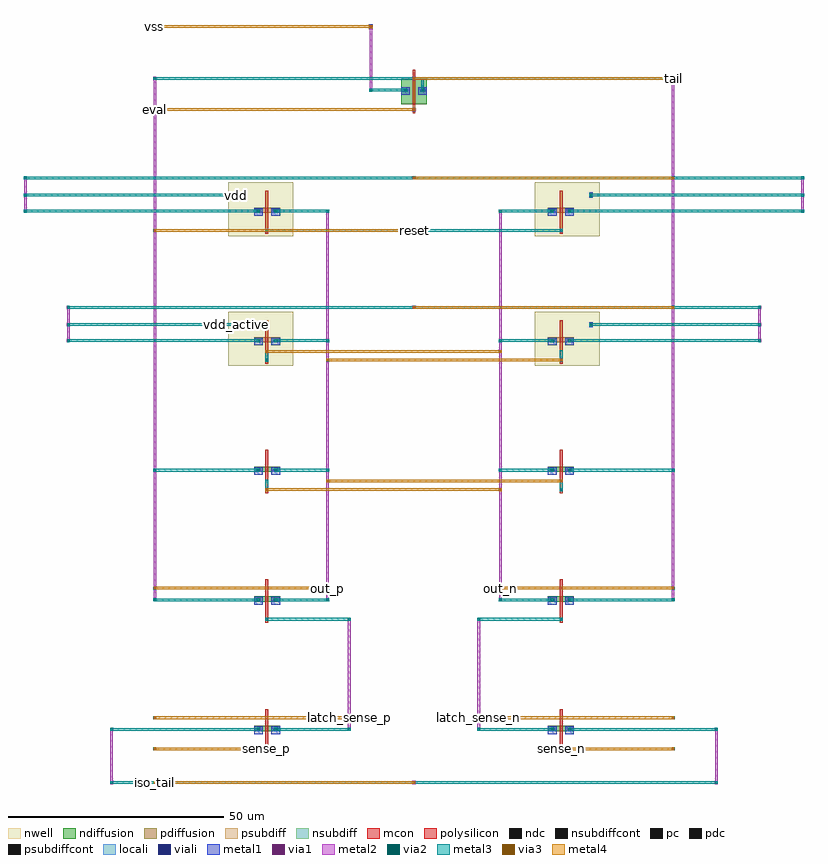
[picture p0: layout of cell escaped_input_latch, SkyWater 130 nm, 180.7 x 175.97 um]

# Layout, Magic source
magic
tech sky130A
<< ndiffusion >>
rect -3700 690 -3100 810
rect 3100 690 3700 810
rect -3700 3690 -3100 3810
rect 3100 3690 3700 3810
rect -3700 6690 -3100 6810
rect 3100 6690 3700 6810
rect -300 15200 300 15800
<< polysilicon >>
rect -3445 245 -3375 315
rect -3445 3245 -3375 3315
rect -3445 6245 -3375 6315
rect -3445 9245 -3375 9315
rect -3445 12245 -3375 12315
rect -35 15045 35 15115
rect 3375 245 3445 315
rect 3375 3245 3445 3315
rect 3375 6245 3445 6315
rect 3375 9245 3445 9315
rect 3375 12245 3445 12315
rect -3440 200 -3380 1200
rect 3380 200 3440 1200
rect -3440 3200 -3380 4200
rect 3380 3200 3440 4200
rect -3440 6200 -3380 7200
rect 3380 6200 3440 7200
rect -3440 9200 -3380 10200
rect 3380 9200 3440 10200
rect -3440 12200 -3380 13200
rect 3380 12200 3440 13200
rect -30 15000 30 16000
<< ndc >>
rect -3260 700 -3140 760
rect -3660 700 -3540 760
rect 3140 700 3260 760
rect 3540 700 3660 760
rect -3260 3700 -3140 3760
rect -3660 3700 -3540 3760
rect 3140 3700 3260 3760
rect 3540 3700 3660 3760
rect -3260 6700 -3140 6760
rect -3660 6700 -3540 6760
rect 3140 6700 3260 6760
rect 3540 6700 3660 6760
rect -260 15500 -140 15560
rect 140 15500 260 15560
<< mcon >>
rect -3260 700 -3140 760
rect -3660 700 -3540 760
rect -3440 250 -3380 310
rect 3140 700 3260 760
rect 3540 700 3660 760
rect 3380 250 3440 310
rect -3260 3700 -3140 3760
rect -3660 3700 -3540 3760
rect -3440 3250 -3380 3310
rect 3140 3700 3260 3760
rect 3540 3700 3660 3760
rect 3380 3250 3440 3310
rect -3260 6700 -3140 6760
rect -3660 6700 -3540 6760
rect -3440 6250 -3380 6310
rect 3140 6700 3260 6760
rect 3540 6700 3660 6760
rect 3380 6250 3440 6310
rect -3260 9700 -3140 9760
rect -3660 9700 -3540 9760
rect -3440 9250 -3380 9310
rect 3140 9700 3260 9760
rect 3540 9700 3660 9760
rect 3380 9250 3440 9310
rect -3260 12700 -3140 12760
rect -3660 12700 -3540 12760
rect -3440 12250 -3380 12310
rect 3140 12700 3260 12760
rect 3540 12700 3660 12760
rect 3380 12250 3440 12310
rect -260 15500 -140 15560
rect 140 15500 260 15560
rect -30 15050 30 15110
<< metal1 >>
rect -4133 10047 -4067 10153
rect -4133 10067 -4067 10133
rect -4133 13047 -4067 13153
rect -4133 13067 -4067 13133
rect -3663 697 -3537 763
rect -3663 3697 -3537 3763
rect -3663 6697 -3537 6763
rect -3663 9697 -3537 9763
rect -3663 12697 -3537 12763
rect -3633 697 -3567 763
rect -3633 3697 -3567 3763
rect -3633 6697 -3567 6763
rect -3633 9697 -3567 9763
rect -3633 12697 -3567 12763
rect -3443 247 -3377 313
rect -3443 3247 -3377 3313
rect -3443 6247 -3377 6313
rect -3443 9247 -3377 9313
rect -3443 12247 -3377 12313
rect -3263 697 -3137 763
rect -3263 3697 -3137 3763
rect -3263 6697 -3137 6763
rect -3263 9697 -3137 9763
rect -3263 12697 -3137 12763
rect -3233 697 -3167 763
rect -3233 3697 -3167 3763
rect -3233 6697 -3167 6763
rect -3233 9697 -3167 9763
rect -3233 12697 -3167 12763
rect -2033 3967 -1967 4033
rect -1033 16947 -967 17053
rect -1033 16967 -967 17033
rect -263 15497 -137 15563
rect -233 15497 -167 15563
rect -33 15047 33 15113
rect 137 15497 263 15563
rect 167 15497 233 15563
rect 1967 3967 2033 4033
rect 3137 697 3263 763
rect 3137 3697 3263 3763
rect 3137 6697 3263 6763
rect 3137 9697 3263 9763
rect 3137 12697 3263 12763
rect 3167 697 3233 763
rect 3167 3697 3233 3763
rect 3167 6697 3233 6763
rect 3167 9697 3233 9763
rect 3167 12697 3233 12763
rect 3377 247 3443 313
rect 3377 3247 3443 3313
rect 3377 6247 3443 6313
rect 3377 9247 3443 9313
rect 3377 12247 3443 12313
rect 3537 697 3663 763
rect 3537 3697 3663 3763
rect 3537 6697 3663 6763
rect 3537 9697 3663 9763
rect 3537 12697 3663 12763
rect 3567 697 3633 763
rect 3567 3697 3633 3763
rect 3567 6697 3633 6763
rect 3567 9697 3633 9763
rect 3567 12697 3633 12763
rect 4067 10047 4133 10153
rect 4067 10067 4133 10133
rect 4067 13047 4133 13153
rect 4067 13067 4133 13133
rect -3300 620 -3100 800
rect -3700 620 -3500 800
rect -3440 250 -3380 310
rect -3630 700 -3570 760
rect -3230 700 -3170 760
rect -3440 250 -3380 310
rect 3100 620 3300 800
rect 3500 620 3700 800
rect 3380 250 3440 310
rect 3570 700 3630 760
rect 3170 700 3230 760
rect 3380 250 3440 310
rect -3300 3620 -3100 3800
rect -3700 3620 -3500 3800
rect -3440 3250 -3380 3310
rect -3630 3700 -3570 3760
rect -3230 3700 -3170 3760
rect -3440 3250 -3380 3310
rect 3100 3620 3300 3800
rect 3500 3620 3700 3800
rect 3380 3250 3440 3310
rect 3570 3700 3630 3760
rect 3170 3700 3230 3760
rect 3380 3250 3440 3310
rect -3300 6620 -3100 6800
rect -3700 6620 -3500 6800
rect -3440 6250 -3380 6310
rect -3630 6700 -3570 6760
rect -3230 6700 -3170 6760
rect -3440 6250 -3380 6310
rect 3100 6620 3300 6800
rect 3500 6620 3700 6800
rect 3380 6250 3440 6310
rect 3570 6700 3630 6760
rect 3170 6700 3230 6760
rect 3380 6250 3440 6310
rect -3300 9620 -3100 9800
rect -3700 9620 -3500 9800
rect -3440 9250 -3380 9310
rect -3630 9700 -3570 9760
rect -3230 9700 -3170 9760
rect -3440 9250 -3380 9310
rect -4130 10050 -4070 10150
rect -4130 10070 -4070 10130
rect 3100 9620 3300 9800
rect 3500 9620 3700 9800
rect 3380 9250 3440 9310
rect 3570 9700 3630 9760
rect 3170 9700 3230 9760
rect 3380 9250 3440 9310
rect 4070 10050 4130 10150
rect 4070 10070 4130 10130
rect -3300 12620 -3100 12800
rect -3700 12620 -3500 12800
rect -3440 12250 -3380 12310
rect -3630 12700 -3570 12760
rect -3230 12700 -3170 12760
rect -3440 12250 -3380 12310
rect -4130 13050 -4070 13150
rect -4130 13070 -4070 13130
rect 3100 12620 3300 12800
rect 3500 12620 3700 12800
rect 3380 12250 3440 12310
rect 3570 12700 3630 12760
rect 3170 12700 3230 12760
rect 3380 12250 3440 12310
rect 4070 13050 4130 13150
rect 4070 13070 4130 13130
rect -2030 3970 -1970 4030
rect 1970 3970 2030 4030
rect -300 15420 -100 15600
rect -230 15500 -170 15560
rect 100 15420 300 15600
rect 170 15500 230 15560
rect -1030 16950 -970 17050
rect -1030 16970 -970 17030
rect -30 15050 30 15110
rect -30 15050 30 15110
<< pc >>
rect -3440 250 -3380 310
rect 3380 250 3440 310
rect -3440 3250 -3380 3310
rect 3380 3250 3440 3310
rect -3440 6250 -3380 6310
rect 3380 6250 3440 6310
rect -3440 9250 -3380 9310
rect 3380 9250 3440 9310
rect -3440 12250 -3380 12310
rect 3380 12250 3440 12310
rect -30 15050 30 15110
<< locali >>
rect -4138 10042 -4062 10158
rect -4138 13042 -4062 13158
rect -3668 692 -3532 768
rect -3668 3692 -3532 3768
rect -3668 6692 -3532 6768
rect -3668 9692 -3532 9768
rect -3668 12692 -3532 12768
rect -3448 242 -3372 318
rect -3448 3242 -3372 3318
rect -3448 6242 -3372 6318
rect -3448 9242 -3372 9318
rect -3448 12242 -3372 12318
rect -3268 692 -3132 768
rect -3268 3692 -3132 3768
rect -3268 6692 -3132 6768
rect -3268 9692 -3132 9768
rect -3268 12692 -3132 12768
rect -1038 16942 -962 17058
rect -268 15492 -132 15568
rect -38 15042 38 15118
rect 132 15492 268 15568
rect 3132 692 3268 768
rect 3132 3692 3268 3768
rect 3132 6692 3268 6768
rect 3132 9692 3268 9768
rect 3132 12692 3268 12768
rect 3372 242 3448 318
rect 3372 3242 3448 3318
rect 3372 6242 3448 6318
rect 3372 9242 3448 9318
rect 3372 12242 3448 12318
rect 3532 692 3668 768
rect 3532 3692 3668 3768
rect 3532 6692 3668 6768
rect 3532 9692 3668 9768
rect 3532 12692 3668 12768
rect 4062 10042 4138 10158
rect 4062 13042 4138 13158
rect -3440 250 -3380 310
rect 3380 250 3440 310
rect -3440 3250 -3380 3310
rect 3380 3250 3440 3310
rect -3440 6250 -3380 6310
rect 3380 6250 3440 6310
rect -3440 9250 -3380 9310
rect -4130 10050 -4070 10150
rect 3380 9250 3440 9310
rect 4070 10050 4130 10150
rect -3440 12250 -3380 12310
rect -4130 13050 -4070 13150
rect 3380 12250 3440 12310
rect 4070 13050 4130 13150
rect -1030 16950 -970 17050
rect -30 15050 30 15110
<< via1 >>
rect -3630 700 -3570 760
rect -3230 700 -3170 760
rect -3440 250 -3380 310
rect 3570 700 3630 760
rect 3170 700 3230 760
rect 3380 250 3440 310
rect -3630 3700 -3570 3760
rect -3230 3700 -3170 3760
rect -3440 3250 -3380 3310
rect 3570 3700 3630 3760
rect 3170 3700 3230 3760
rect 3380 3250 3440 3310
rect -3630 6700 -3570 6760
rect -3230 6700 -3170 6760
rect -3440 6250 -3380 6310
rect 3570 6700 3630 6760
rect 3170 6700 3230 6760
rect 3380 6250 3440 6310
rect -3630 9700 -3570 9760
rect -3230 9700 -3170 9760
rect -3440 9250 -3380 9310
rect -4130 10070 -4070 10130
rect 3570 9700 3630 9760
rect 3170 9700 3230 9760
rect 3380 9250 3440 9310
rect 4070 10070 4130 10130
rect -3630 12700 -3570 12760
rect -3230 12700 -3170 12760
rect -3440 12250 -3380 12310
rect -4130 13070 -4070 13130
rect 3570 12700 3630 12760
rect 3170 12700 3230 12760
rect 3380 12250 3440 12310
rect 4070 13070 4130 13130
rect -2030 3970 -1970 4030
rect 1970 3970 2030 4030
rect -230 15500 -170 15560
rect 170 15500 230 15560
rect -1030 16970 -970 17030
rect -30 15050 30 15110
<< metal2 >>
rect -9035 12695 -8965 12765
rect -9035 13065 -8965 13135
rect -9035 13465 -8965 13535
rect -8035 9695 -7965 9765
rect -8035 10065 -7965 10135
rect -8035 10465 -7965 10535
rect -7035 -535 -6965 -465
rect -7035 695 -6965 765
rect -6035 3695 -5965 3765
rect -6035 6695 -5965 6765
rect -6035 15765 -5965 15835
rect -4135 10065 -4065 10135
rect -4135 13065 -4065 13135
rect -4133 10067 -4067 10133
rect -4133 13067 -4067 13133
rect -3635 695 -3565 765
rect -3635 3695 -3565 3765
rect -3635 6695 -3565 6765
rect -3635 9695 -3565 9765
rect -3635 12695 -3565 12765
rect -3633 697 -3567 763
rect -3633 3697 -3567 3763
rect -3633 6697 -3567 6763
rect -3633 9697 -3567 9763
rect -3633 12697 -3567 12763
rect -3445 245 -3375 315
rect -3445 3245 -3375 3315
rect -3445 6245 -3375 6315
rect -3445 9245 -3375 9315
rect -3445 12245 -3375 12315
rect -3443 247 -3377 313
rect -3443 3247 -3377 3313
rect -3443 6247 -3377 6313
rect -3443 9247 -3377 9313
rect -3443 12247 -3377 12313
rect -3235 695 -3165 765
rect -3235 3695 -3165 3765
rect -3235 6695 -3165 6765
rect -3235 9695 -3165 9765
rect -3235 12695 -3165 12765
rect -3233 697 -3167 763
rect -3233 3697 -3167 3763
rect -3233 6697 -3167 6763
rect -3233 9697 -3167 9763
rect -3233 12697 -3167 12763
rect -2035 3695 -1965 3765
rect -2035 3965 -1965 4035
rect -2035 6445 -1965 6515
rect -2035 6695 -1965 6765
rect -2035 9245 -1965 9315
rect -2035 9695 -1965 9765
rect -2035 12695 -1965 12765
rect -2033 3967 -1967 4033
rect -1535 695 -1465 765
rect -1535 965 -1465 1035
rect -1535 3245 -1465 3315
rect -1035 15495 -965 15565
rect -1035 16965 -965 17035
rect -1033 16967 -967 17033
rect -235 15495 -165 15565
rect -233 15497 -167 15563
rect -35 -535 35 -465
rect -35 10465 35 10535
rect -35 12245 35 12315
rect -35 13465 35 13535
rect -35 15045 35 15115
rect -35 15765 35 15835
rect -33 15047 33 15113
rect 165 15495 235 15565
rect 167 15497 233 15563
rect 1465 695 1535 765
rect 1465 965 1535 1035
rect 1465 3245 1535 3315
rect 1965 3695 2035 3765
rect 1965 3965 2035 4035
rect 1965 6245 2035 6315
rect 1965 6695 2035 6765
rect 1965 9445 2035 9515
rect 1965 9695 2035 9765
rect 1965 12695 2035 12765
rect 1967 3967 2033 4033
rect 3165 695 3235 765
rect 3165 3695 3235 3765
rect 3165 6695 3235 6765
rect 3165 9695 3235 9765
rect 3165 12695 3235 12765
rect 3167 697 3233 763
rect 3167 3697 3233 3763
rect 3167 6697 3233 6763
rect 3167 9697 3233 9763
rect 3167 12697 3233 12763
rect 3375 245 3445 315
rect 3375 3245 3445 3315
rect 3375 6245 3445 6315
rect 3375 9245 3445 9315
rect 3375 12245 3445 12315
rect 3377 247 3443 313
rect 3377 3247 3443 3313
rect 3377 6247 3443 6313
rect 3377 9247 3443 9313
rect 3377 12247 3443 12313
rect 3565 695 3635 765
rect 3565 3695 3635 3765
rect 3565 6695 3635 6765
rect 3565 9695 3635 9765
rect 3565 12695 3635 12765
rect 3567 697 3633 763
rect 3567 3697 3633 3763
rect 3567 6697 3633 6763
rect 3567 9697 3633 9763
rect 3567 12697 3633 12763
rect 4065 10065 4135 10135
rect 4065 13065 4135 13135
rect 4067 10067 4133 10133
rect 4067 13067 4133 13133
rect 5965 3695 6035 3765
rect 5965 6695 6035 6765
rect 5965 15765 6035 15835
rect 6965 -535 7035 -465
rect 6965 695 7035 765
rect 7965 9695 8035 9765
rect 7965 10065 8035 10135
rect 7965 10465 8035 10535
rect 8965 12695 9035 12765
rect 8965 13065 9035 13135
rect 8965 13465 9035 13535
rect -3630 700 -3570 760
rect -7030 700 -6970 760
rect -3230 700 -3170 760
rect -1530 700 -1470 760
rect -3440 250 -3380 310
rect 3570 700 3630 760
rect 6970 700 7030 760
rect 3170 700 3230 760
rect 1470 700 1530 760
rect 3380 250 3440 310
rect -3630 3700 -3570 3760
rect -6030 3700 -5970 3760
rect -3230 3700 -3170 3760
rect -2030 3700 -1970 3760
rect -3440 3250 -3380 3310
rect -1530 3250 -1470 3310
rect 3570 3700 3630 3760
rect 5970 3700 6030 3760
rect 3170 3700 3230 3760
rect 1970 3700 2030 3760
rect 3380 3250 3440 3310
rect 1470 3250 1530 3310
rect -3630 6700 -3570 6760
rect -6030 6700 -5970 6760
rect -3230 6700 -3170 6760
rect -2030 6700 -1970 6760
rect -3440 6250 -3380 6310
rect 1970 6250 2030 6310
rect 3570 6700 3630 6760
rect 5970 6700 6030 6760
rect 3170 6700 3230 6760
rect 1970 6700 2030 6760
rect 3380 6250 3440 6310
rect -2030 6450 -1970 6510
rect -3630 9700 -3570 9760
rect -8030 9700 -7970 9760
rect -3230 9700 -3170 9760
rect -2030 9700 -1970 9760
rect -3440 9250 -3380 9310
rect 1970 9450 2030 9510
rect -4130 10070 -4070 10130
rect -8030 10070 -7970 10130
rect 3570 9700 3630 9760
rect 7970 9700 8030 9760
rect 3170 9700 3230 9760
rect 1970 9700 2030 9760
rect 3380 9250 3440 9310
rect -2030 9250 -1970 9310
rect 4070 10070 4130 10130
rect 7970 10070 8030 10130
rect -3630 12700 -3570 12760
rect -9030 12700 -8970 12760
rect -3230 12700 -3170 12760
rect -2030 12700 -1970 12760
rect -3440 12250 -3380 12310
rect -4130 13070 -4070 13130
rect -9030 13070 -8970 13130
rect 3570 12700 3630 12760
rect 8970 12700 9030 12760
rect 3170 12700 3230 12760
rect 1970 12700 2030 12760
rect 3380 12250 3440 12310
rect 4070 13070 4130 13130
rect 8970 13070 9030 13130
rect -1530 700 -1470 3310
rect -2030 3700 -1970 12760
rect -2030 3970 -1970 4030
rect 1470 700 1530 3310
rect 1970 3700 2030 12760
rect 1970 3970 2030 4030
rect -1530 970 -1470 1030
rect 1470 970 1530 1030
rect -30 -530 30 -470
rect -30 15770 30 15830
rect -30 12250 30 12310
rect -30 15050 30 15110
rect -30 10470 30 10530
rect -30 13470 30 13530
rect -1030 16970 -970 17030
rect -7030 -530 -6970 760
rect -7030 -530 -6970 -470
rect 6970 -530 7030 760
rect 6970 -530 7030 -470
rect -6030 3700 -5970 15830
rect -6030 15770 -5970 15830
rect 5970 3700 6030 15830
rect 5970 15770 6030 15830
rect -8030 9700 -7970 10530
rect -8030 10470 -7970 10530
rect 7970 9700 8030 10530
rect 7970 10470 8030 10530
rect -9030 12700 -8970 13530
rect -9030 13470 -8970 13530
rect 8970 12700 9030 13530
rect 8970 13470 9030 13530
rect -230 15500 -170 15560
rect 170 15500 230 15560
rect -1030 15500 -970 15560
rect -1030 15500 -970 17030
rect -1030 16970 -970 17030
rect -30 15050 30 15110
<< via2 >>
rect -3630 700 -3570 760
rect -7030 700 -6970 760
rect -3230 700 -3170 760
rect -1530 700 -1470 760
rect -3440 250 -3380 310
rect 3570 700 3630 760
rect 6970 700 7030 760
rect 3170 700 3230 760
rect 1470 700 1530 760
rect 3380 250 3440 310
rect -3630 3700 -3570 3760
rect -6030 3700 -5970 3760
rect -3230 3700 -3170 3760
rect -2030 3700 -1970 3760
rect -3440 3250 -3380 3310
rect -1530 3250 -1470 3310
rect 3570 3700 3630 3760
rect 5970 3700 6030 3760
rect 3170 3700 3230 3760
rect 1970 3700 2030 3760
rect 3380 3250 3440 3310
rect 1470 3250 1530 3310
rect -3630 6700 -3570 6760
rect -6030 6700 -5970 6760
rect -3230 6700 -3170 6760
rect -2030 6700 -1970 6760
rect -3440 6250 -3380 6310
rect 1970 6250 2030 6310
rect 3570 6700 3630 6760
rect 5970 6700 6030 6760
rect 3170 6700 3230 6760
rect 1970 6700 2030 6760
rect 3380 6250 3440 6310
rect -2030 6450 -1970 6510
rect -3630 9700 -3570 9760
rect -8030 9700 -7970 9760
rect -3230 9700 -3170 9760
rect -2030 9700 -1970 9760
rect -3440 9250 -3380 9310
rect 1970 9450 2030 9510
rect -4130 10070 -4070 10130
rect -8030 10070 -7970 10130
rect 3570 9700 3630 9760
rect 7970 9700 8030 9760
rect 3170 9700 3230 9760
rect 1970 9700 2030 9760
rect 3380 9250 3440 9310
rect -2030 9250 -1970 9310
rect 4070 10070 4130 10130
rect 7970 10070 8030 10130
rect -3630 12700 -3570 12760
rect -9030 12700 -8970 12760
rect -3230 12700 -3170 12760
rect -2030 12700 -1970 12760
rect -3440 12250 -3380 12310
rect -4130 13070 -4070 13130
rect -9030 13070 -8970 13130
rect 3570 12700 3630 12760
rect 8970 12700 9030 12760
rect 3170 12700 3230 12760
rect 1970 12700 2030 12760
rect 3380 12250 3440 12310
rect 4070 13070 4130 13130
rect 8970 13070 9030 13130
rect -2030 3970 -1970 4030
rect 1970 3970 2030 4030
rect -1530 970 -1470 1030
rect 1470 970 1530 1030
rect -30 -530 30 -470
rect -30 15770 30 15830
rect -30 12250 30 12310
rect -30 15050 30 15110
rect -30 10470 30 10530
rect -30 13470 30 13530
rect -1030 16970 -970 17030
rect -7030 -530 -6970 -470
rect 6970 -530 7030 -470
rect -6030 15770 -5970 15830
rect 5970 15770 6030 15830
rect -8030 10470 -7970 10530
rect 7970 10470 8030 10530
rect -9030 13470 -8970 13530
rect 8970 13470 9030 13530
rect -230 15500 -170 15560
rect 170 15500 230 15560
rect -1030 15500 -970 15560
rect -1030 16970 -970 17030
<< metal3 >>
rect -9033 12697 -8967 12763
rect -9033 13067 -8967 13133
rect -9033 13467 -8967 13533
rect -8033 9697 -7967 9763
rect -8033 10067 -7967 10133
rect -8033 10467 -7967 10533
rect -7033 -533 -6967 -467
rect -7033 697 -6967 763
rect -6033 -533 -5967 -467
rect -6033 247 -5967 313
rect -6033 967 -5967 1033
rect -6033 3697 -5967 3763
rect -6033 3967 -5967 4033
rect -6033 6697 -5967 6763
rect -6033 12247 -5967 12313
rect -6033 15047 -5967 15113
rect -6033 15767 -5967 15833
rect -6033 16967 -5967 17033
rect -4133 10067 -4067 10133
rect -4133 13067 -4067 13133
rect -3633 697 -3567 763
rect -3633 3697 -3567 3763
rect -3633 6697 -3567 6763
rect -3633 9697 -3567 9763
rect -3633 12697 -3567 12763
rect -3443 247 -3377 313
rect -3443 3247 -3377 3313
rect -3443 6247 -3377 6313
rect -3443 9247 -3377 9313
rect -3443 9447 -3377 9513
rect -3443 12247 -3377 12313
rect -3233 697 -3167 763
rect -3233 3697 -3167 3763
rect -3233 6697 -3167 6763
rect -3233 9697 -3167 9763
rect -3233 12697 -3167 12763
rect -2033 3697 -1967 3763
rect -2033 3967 -1967 4033
rect -2033 6447 -1967 6513
rect -2033 6697 -1967 6763
rect -2033 9247 -1967 9313
rect -2033 9697 -1967 9763
rect -2033 12697 -1967 12763
rect -1533 697 -1467 763
rect -1533 967 -1467 1033
rect -1533 3247 -1467 3313
rect -1033 15497 -967 15563
rect -1033 16967 -967 17033
rect -233 15497 -167 15563
rect -33 -533 33 -467
rect -33 10467 33 10533
rect -33 12247 33 12313
rect -33 13467 33 13533
rect -33 15047 33 15113
rect -33 15767 33 15833
rect 167 15497 233 15563
rect 1467 697 1533 763
rect 1467 967 1533 1033
rect 1467 3247 1533 3313
rect 1967 3697 2033 3763
rect 1967 3967 2033 4033
rect 1967 6247 2033 6313
rect 1967 6697 2033 6763
rect 1967 9447 2033 9513
rect 1967 9697 2033 9763
rect 1967 12697 2033 12763
rect 3167 697 3233 763
rect 3167 3697 3233 3763
rect 3167 6697 3233 6763
rect 3167 9697 3233 9763
rect 3167 12697 3233 12763
rect 3377 247 3443 313
rect 3377 3247 3443 3313
rect 3377 6247 3443 6313
rect 3377 6447 3443 6513
rect 3377 9247 3443 9313
rect 3377 12247 3443 12313
rect 3567 697 3633 763
rect 3567 3697 3633 3763
rect 3567 6697 3633 6763
rect 3567 9697 3633 9763
rect 3567 12697 3633 12763
rect 4067 10067 4133 10133
rect 4067 13067 4133 13133
rect 5967 247 6033 313
rect 5967 967 6033 1033
rect 5967 3697 6033 3763
rect 5967 3967 6033 4033
rect 5967 6697 6033 6763
rect 5967 10467 6033 10533
rect 5967 13467 6033 13533
rect 5967 15767 6033 15833
rect 6967 -533 7033 -467
rect 6967 697 7033 763
rect 7967 9697 8033 9763
rect 7967 10067 8033 10133
rect 7967 10467 8033 10533
rect 8967 12697 9033 12763
rect 8967 13067 9033 13133
rect 8967 13467 9033 13533
rect -3630 700 -3570 760
rect -7030 700 -3570 760
rect -7030 700 -6970 760
rect -3230 700 -3170 760
rect -3230 700 -1470 760
rect -1530 700 -1470 760
rect -3440 250 -3380 310
rect -6030 250 -5970 310
rect 3570 700 3630 760
rect 3570 700 7030 760
rect 6970 700 7030 760
rect 3170 700 3230 760
rect 1470 700 3230 760
rect 1470 700 1530 760
rect 3380 250 3440 310
rect 5970 250 6030 310
rect -3630 3700 -3570 3760
rect -6030 3700 -3570 3760
rect -6030 3700 -5970 3760
rect -3230 3700 -3170 3760
rect -3230 3700 -1970 3760
rect -2030 3700 -1970 3760
rect -3440 3250 -3380 3310
rect -3440 3250 -1470 3310
rect -1530 3250 -1470 3310
rect 3570 3700 3630 3760
rect 3570 3700 6030 3760
rect 5970 3700 6030 3760
rect 3170 3700 3230 3760
rect 1970 3700 3230 3760
rect 1970 3700 2030 3760
rect 3380 3250 3440 3310
rect 1470 3250 3440 3310
rect 1470 3250 1530 3310
rect -3630 6700 -3570 6760
rect -6030 6700 -3570 6760
rect -6030 6700 -5970 6760
rect -3230 6700 -3170 6760
rect -3230 6700 -1970 6760
rect -2030 6700 -1970 6760
rect -3440 6250 -3380 6310
rect -3440 6250 -3380 6510
rect -3440 6250 -3380 6310
rect 1970 6250 2030 6310
rect 3570 6700 3630 6760
rect 3570 6700 6030 6760
rect 5970 6700 6030 6760
rect 3170 6700 3230 6760
rect 1970 6700 3230 6760
rect 1970 6700 2030 6760
rect 3380 6250 3440 6310
rect 3380 6250 3440 6510
rect 3380 6450 3440 6510
rect -2030 6450 -1970 6510
rect -3630 9700 -3570 9760
rect -8030 9700 -3570 9760
rect -8030 9700 -7970 9760
rect -3230 9700 -3170 9760
rect -3230 9700 -1970 9760
rect -2030 9700 -1970 9760
rect -3440 9250 -3380 9310
rect -3440 9250 -3380 9510
rect -3440 9450 -3380 9510
rect 1970 9450 2030 9510
rect -4130 10070 -4070 10130
rect -8030 10070 -4070 10130
rect -8030 10070 -7970 10130
rect 3570 9700 3630 9760
rect 3570 9700 8030 9760
rect 7970 9700 8030 9760
rect 3170 9700 3230 9760
rect 1970 9700 3230 9760
rect 1970 9700 2030 9760
rect 3380 9250 3440 9310
rect 3380 9250 3440 9510
rect 3380 9250 3440 9310
rect -2030 9250 -1970 9310
rect 4070 10070 4130 10130
rect 4070 10070 8030 10130
rect 7970 10070 8030 10130
rect -3630 12700 -3570 12760
rect -9030 12700 -3570 12760
rect -9030 12700 -8970 12760
rect -3230 12700 -3170 12760
rect -3230 12700 -1970 12760
rect -2030 12700 -1970 12760
rect -3440 12250 -3380 12310
rect -3440 12250 30 12310
rect -4130 13070 -4070 13130
rect -9030 13070 -4070 13130
rect -9030 13070 -8970 13130
rect 3570 12700 3630 12760
rect 3570 12700 9030 12760
rect 8970 12700 9030 12760
rect 3170 12700 3230 12760
rect 1970 12700 3230 12760
rect 1970 12700 2030 12760
rect 3380 12250 3440 12310
rect -30 12250 3440 12310
rect 4070 13070 4130 13130
rect 4070 13070 9030 13130
rect 8970 13070 9030 13130
rect -2030 3970 -1970 4030
rect -6030 3970 -5970 4030
rect 1970 3970 2030 4030
rect 5970 3970 6030 4030
rect -1530 970 -1470 1030
rect -6030 970 -5970 1030
rect 1470 970 1530 1030
rect 5970 970 6030 1030
rect -30 -530 30 -470
rect -6030 -530 -5970 -470
rect -30 15770 30 15830
rect 5970 15770 6030 15830
rect -30 12250 30 12310
rect -6030 12250 -5970 12310
rect -30 15050 30 15110
rect -6030 15050 -5970 15110
rect -30 10470 30 10530
rect 5970 10470 6030 10530
rect -30 13470 30 13530
rect 5970 13470 6030 13530
rect -1030 16970 -970 17030
rect -6030 16970 -5970 17030
rect -7030 -530 -6970 -470
rect 6970 -530 7030 -470
rect -7030 -530 7030 -470
rect -6030 15770 -5970 15830
rect 5970 15770 6030 15830
rect -6030 15770 6030 15830
rect -8030 10470 -7970 10530
rect 7970 10470 8030 10530
rect -8030 10470 8030 10530
rect -9030 13470 -8970 13530
rect 8970 13470 9030 13530
rect -9030 13470 9030 13530
rect -230 15500 -170 15560
rect 170 15500 230 15560
rect 170 15500 230 15830
rect -1030 15500 -170 15560
rect -1030 15500 -970 15560
rect -1030 16970 -970 17030
<< via3 >>
rect -3440 250 -3380 310
rect -6030 250 -5970 310
rect 3380 250 3440 310
rect 5970 250 6030 310
rect -3440 6250 -3380 6310
rect 1970 6250 2030 6310
rect 3380 6450 3440 6510
rect -2030 6450 -1970 6510
rect -3440 9450 -3380 9510
rect 1970 9450 2030 9510
rect 3380 9250 3440 9310
rect -2030 9250 -1970 9310
rect -2030 3970 -1970 4030
rect -6030 3970 -5970 4030
rect 1970 3970 2030 4030
rect 5970 3970 6030 4030
rect -1530 970 -1470 1030
rect -6030 970 -5970 1030
rect 1470 970 1530 1030
rect 5970 970 6030 1030
rect -30 -530 30 -470
rect -6030 -530 -5970 -470
rect -30 15770 30 15830
rect 5970 15770 6030 15830
rect -30 12250 30 12310
rect -6030 12250 -5970 12310
rect -30 15050 30 15110
rect -6030 15050 -5970 15110
rect -30 10470 30 10530
rect 5970 10470 6030 10530
rect -30 13470 30 13530
rect 5970 13470 6030 13530
rect -1030 16970 -970 17030
rect -6030 16970 -5970 17030
<< metal4 >>
rect -6031 -531 -5969 -469
rect -6031 249 -5969 311
rect -6031 969 -5969 1031
rect -6031 3969 -5969 4031
rect -6031 12249 -5969 12311
rect -6031 15049 -5969 15111
rect -6031 16969 -5969 17031
rect -3441 249 -3379 311
rect -3441 6249 -3379 6311
rect -3441 9449 -3379 9511
rect -2031 3969 -1969 4031
rect -2031 6449 -1969 6511
rect -2031 9249 -1969 9311
rect -1531 969 -1469 1031
rect -1031 16969 -969 17031
rect -31 -531 31 -469
rect -31 10469 31 10531
rect -31 12249 31 12311
rect -31 13469 31 13531
rect -31 15049 31 15111
rect -31 15769 31 15831
rect 1469 969 1531 1031
rect 1969 3969 2031 4031
rect 1969 6249 2031 6311
rect 1969 9449 2031 9511
rect 3379 249 3441 311
rect 3379 6449 3441 6511
rect 3379 9249 3441 9311
rect 5969 249 6031 311
rect 5969 969 6031 1031
rect 5969 3969 6031 4031
rect 5969 10469 6031 10531
rect 5969 13469 6031 13531
rect 5969 15769 6031 15831
rect -3440 250 -3380 310
rect -6030 250 -3380 310
rect -6030 250 -5970 310
rect 3380 250 3440 310
rect 3380 250 6030 310
rect 5970 250 6030 310
rect -3440 6250 -3380 6310
rect -3440 6250 2030 6310
rect 1970 6250 2030 6310
rect 3380 6450 3440 6510
rect -2030 6450 3440 6510
rect -2030 6450 -1970 6510
rect -3440 9450 -3380 9510
rect -3440 9450 2030 9510
rect 1970 9450 2030 9510
rect 3380 9250 3440 9310
rect -2030 9250 3440 9310
rect -2030 9250 -1970 9310
rect -2030 3970 -1970 4030
rect -6030 3970 -1970 4030
rect -6030 3970 -5970 4030
rect 1970 3970 2030 4030
rect 1970 3970 6030 4030
rect 5970 3970 6030 4030
rect -1530 970 -1470 1030
rect -6030 970 -1470 1030
rect -6030 970 -5970 1030
rect 1470 970 1530 1030
rect 1470 970 6030 1030
rect 5970 970 6030 1030
rect -30 -530 30 -470
rect -6030 -530 30 -470
rect -6030 -530 -5970 -470
rect -30 15770 30 15830
rect -30 15770 6030 15830
rect 5970 15770 6030 15830
rect -30 12250 30 12310
rect -6030 12250 30 12310
rect -6030 12250 -5970 12310
rect -30 15050 30 15110
rect -6030 15050 30 15110
rect -6030 15050 -5970 15110
rect -30 10470 30 10530
rect -30 10470 6030 10530
rect 5970 10470 6030 10530
rect -30 13470 30 13530
rect -30 13470 6030 13530
rect 5970 13470 6030 13530
rect -1030 16970 -970 17030
rect -6030 16970 -970 17030
rect -6030 16970 -5970 17030
<< nwell >>
rect -4300 9150 -2800 10400
rect 2800 9150 4300 10400
rect -4300 12150 -2800 13400
rect 2800 12150 4300 13400
<< pdiffusion >>
rect -3700 9690 -3100 9810
rect 3100 9690 3700 9810
rect -3700 12690 -3100 12810
rect 3100 12690 3700 12810
<< pdc >>
rect -3260 9700 -3140 9760
rect -3660 9700 -3540 9760
rect 3140 9700 3260 9760
rect 3540 9700 3660 9760
rect -3260 12700 -3140 12760
rect -3660 12700 -3540 12760
rect 3140 12700 3260 12760
rect 3540 12700 3660 12760
<< nsubdiff >>
rect -4142 10038 -4058 10162
rect -4142 13038 -4058 13162
rect 4058 10038 4142 10162
rect 4058 13038 4142 13162
rect -4130 10050 -4070 10150
rect 4070 10050 4130 10150
rect -4130 13050 -4070 13150
rect 4070 13050 4130 13150
<< nsubdiffcont >>
rect -4130 10050 -4070 10150
rect 4070 10050 4130 10150
rect -4130 13050 -4070 13150
rect 4070 13050 4130 13150
<< viali >>
rect -4130 10050 -4070 10150
rect 4070 10050 4130 10150
rect -4130 13050 -4070 13150
rect 4070 13050 4130 13150
rect -1030 16950 -970 17050
<< psubdiff >>
rect -1042 16938 -958 17062
rect -1030 16950 -970 17050
<< psubdiffcont >>
rect -1030 16950 -970 17050
<< labels >>
rlabel metal2 -2020 3980 -1980 4020 0 out_p
port 1 nsew
rlabel metal2 1980 3980 2020 4020 0 out_n
port 2 nsew
rlabel metal2 -1520 980 -1480 1020 0 latch_sense_p
port 3 nsew
rlabel metal2 1480 980 1520 1020 0 latch_sense_n
port 4 nsew
rlabel metal4 5980 15780 6020 15820 0 tail
port 5 nsew
rlabel metal3 -20 12260 20 12300 0 reset
port 6 nsew
rlabel metal2 -4120 13080 -4080 13120 0 vdd
port 7 nsew
rlabel metal4 -6020 16980 -5980 17020 0 vss
port 8 nsew
rlabel metal4 -6020 15060 -5980 15100 0 eval
port 9 nsew
rlabel metal2 -3430 260 -3390 300 0 sense_p
port 10 nsew
rlabel metal2 3390 260 3430 300 0 sense_n
port 11 nsew
rlabel metal4 -6020 -520 -5980 -480 0 iso_tail
port 12 nsew
rlabel metal2 -4120 10080 -4080 10120 0 vdd_active
port 13 nsew
<< end >>
